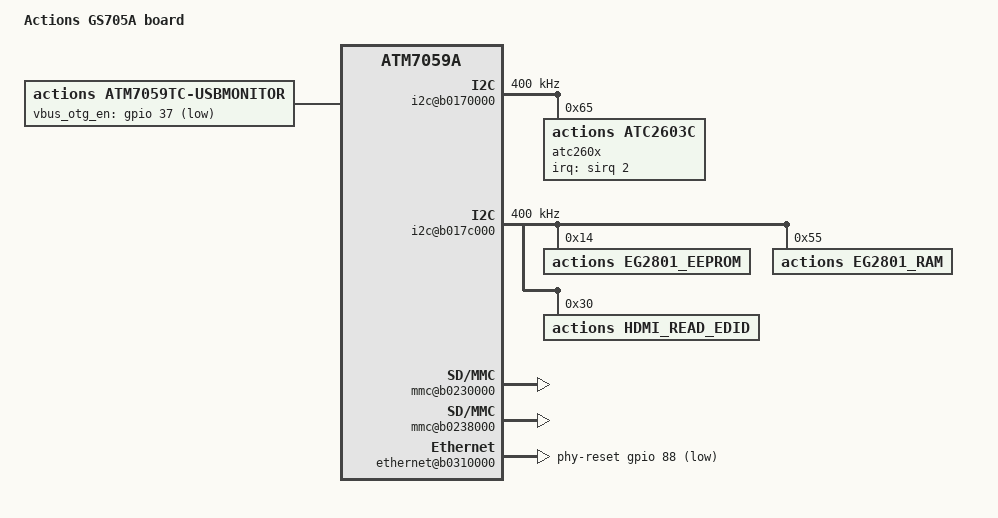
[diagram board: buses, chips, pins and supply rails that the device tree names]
/dts-v1/;

/include/ "actduino.dtsi"
#include <dt-bindings/input/input.h>

/ {
	model = "Actions GS705A board";
	compatible = "actions,gs705a", "actions,atm7059a";

	clock:0b0160000 {
		compatible = "actions,owl-clk";
		core_pll = <0x332>;
		dev_pll = <0x1164>;
		bus_pll = <0x1c710000>;
		display_pll = <0x164>;
		bus1_pll = <0x2e004>;
		clk_spead = <0x0>;
	};
	
	gpio_int {
		initgpio_A=<23 0 0>,<25 0 0>;/*<x1,x2,x3>,x1=PIN,x2=(0=OUT,1=IN),x3=IOVAL*/
		initgpio_B=<1 0 0>,<23 0 0>;
	};
    
	reserved {
		tiny {
			fb_heap_size = <4>;
			kinfo_heap_size = <1>;
			carveout_heap_size = <40>;
			dma_heap_size = <128>;
		};
		normal {
			fb_heap_size = <8>;
			kinfo_heap_size = <1>;
			carveout_heap_size = <244>;
			dma_heap_size = <98>;
		};
	};
	
	pinctrl@b01b0040 {
		pinctrl-names = "default";
		pinctrl-0 = <&state_default>;

		state_default: pinctrl_default {
		};

		i2c0_state_default: i2c0_default {/* i2c0 use default pin	*/
			i2c0_default_mfp {
				actions,groups = "mfp3_18_16";
				actions,function = "i2c0";
			};

			i2c0_default_paddrv {
				actions,groups = "paddrv2_24_23";
				actions,paddrv = <0>;/*level 1*/
			};

			i2c0_default_pull_up {
				actions,pins = "P_I2C0_SCLK","P_I2C0_SDATA";
				actions,pull = <2>; /*pull up*/
			};
		};

		i2c0_state_over_uart0: i2c0_over_uart0 {/* i2c0 use uart0 pin	*/
			i2c0_over_uart0_mfp {
				actions,groups = "mfp2_2_0", "mfp3_21_19";
				actions,function = "i2c0";
			};

			i2c0_over_uart0_paddrv {
				actions,groups = "paddrv2_31_30","paddrv2_29_28";
				actions,paddrv = <0>;/*level 1*/
			};

			i2c0_over_uart0_pull_up {
				actions,pins = "P_UART0_RX","P_UART0_TX";
				actions,pull = <2>; /*pull up*/
			};
		};	

		i2c1_state_default: i2c1_default {/* i2c1 use default pin	*/
			i2c1_default_mfp {
				actions,groups = "i2c1_dummy";
				actions,function = "i2c1";
			};

			i2c1_default_paddrv {
				actions,groups = "paddrv2_22_21";
				actions,paddrv = <0>;/*level 1*/
			};

			i2c1_default_pull_up {
				actions,pins = "P_I2C1_SCLK","P_I2C1_SDATA";
				actions,pull = <0>;	/*stay disabled*/
			};
		};

		i2c2_state_default: i2c2_default {/* i2c2 use default pin*/
			i2c2_default_mfp {
				actions,groups = "i2c2_dummy";
				actions,function = "i2c2";
			};

			i2c2_default_paddrv {
				actions,groups = "paddrv2_22_21";
				actions,paddrv = <0>;/*level 1*/
			};

			i2c2_default_pull_up {
				actions,pins = "P_I2C2_SCLK","P_I2C2_SDATA";
				actions,pull = <2>; /*pull up*/
			};
		};
		
		i2c3_state_over_spi0: i2c3_over_spi0 {/* i2c3 use spi0 pin	*/
			i2c3_over_spi0_mfp {
				actions,groups = "mfp1_4_3";
				actions,function = "i2c3";
			};

			i2c3_over_spi0_paddrv {
				actions,groups = "paddrv1_11_10";
				actions,paddrv = <0>;/*level 1*/
			};

			i2c3_over_spi0_pull_up {
				actions,pins = "P_SPI0_SCLK","P_SPI0_MOSI";
				actions,pull = <2>; /*pull up*/
			};
		};				

		pwm0_state_default: pwm0_default {
			pwm0_mfp {
				actions,groups = "mfp1_31_29_ks_in2";
				actions,function = "pwm0";
			};
		};

		pwm1_state_default: pwm1_default {
			pwm1_mfp {
				actions,groups = "mfp1_28_26_ks_in3";
				actions,function = "pwm1";
			};
		};
		
		pwm2_state_default: pwm2_default {
			pwm2_mfp {
				actions,groups = "mfp1_25_23";
				actions,function = "pwm2";
			};
		};
		
		pwm3_state_default: pwm3_default {
			pwm3_mfp {
				actions,groups = "mfp1_28_26_ks_out1";
				actions,function = "pwm3";
			};
		};
		
		lvds_state_default: lvds_default {
			lvds_mux {
				actions,groups = "mfp1_22_21", "mfp1_6_5", "mfp2_28_27";
				actions,function = "lvds";
			};
		};
		rgb_state_default: rgb_default {
			rgb_mux {
				actions,groups = "mfp0_25_23","mfp1_16_14", "mfp1_22_21", "mfp1_13_12", "mfp1_11_10", "mfp1_6_5", "mfp2_30_29", "mfp2_28_27";
				actions,function = "lcd0";
			};
		};
		
		dsi_state_default: dsi_default {
			dsi_mux {
				actions,groups = "mfp1_20_19", "mfp1_18_17", "mfp1_13_12", "mfp1_11_10", "mfp1_9_7", "mfp2_30_29";
				actions,function = "dsi";
			};
		};
	};

	i2c@b0170000 {
		i2c_num = <0>;
		clock-frequency = <400000>;
		status = "okay";
		pinctrl-names = "default";
		pinctrl-0 = <&i2c0_state_default>;
		#address-cells = <1>;
		#size-cells = <0>;	
		
		/* atc2603c (5307) */
		atc260x: atc2603c@65 {
			compatible = "actions,atc2603c";
			reg = <0x65>;
			interrupt-parent = <&sirq>;
			interrupts =< 2 0x4 >;
			interrupt-controller;
			#interrupt-cells = <1>;

			atc260x-adckeypad{
			    compatible = "actions,atc2603c-adckeypad";
                            adc_channel_name = "AUX0";          /* the ADC channel used for sampling, valid names are REMCON AUX0 AUX1 AUX2 (AUX3) */
                            keymapsize = <4>; /* number of ADC key */
                            left_adc_val =  <0 90 175 270>;     /* for key code translator, each value defines a lower bound of ADC value of a key */
                            right_adc_val = <30 120 220 320>;   /* for key code translator, each value defines a upper bound of ADC value of a key */
                            key_val = <KEY_HOME KEY_MENU KEY_VOLUMEUP KEY_VOLUMEDOWN>; /* for key code translator, each value defines the key_code of a key */
                        };

			atc260x-power{
				compatible = "actions,atc2603c-power";
				support_adaptor_type = <3>;      /*1: DCIN  2: USB  3:DCIN+USB*/
				support_minicharger = < 1 >;	/* 1:support minicharer  0:do not support minicharger */  
			};
		};
	};

	i2c@b017c000 {
		i2c_num = <3>;
		clock-frequency = <400000>;
		status = "okay";
		pinctrl-names = "default";
		pinctrl-0 = <&i2c3_state_over_spi0>;
		eg2801_eeprom@14 {
			compatible ="actions,eg2801_eeprom";
			reg = <0x14>;
		};

		eg2801_ram@55 {
			compatible ="actions,eg2801_ram";
			reg = <0x55>;
		};
		
		hdmi_read_edid@30 {
			compatible = "actions,hdmi_read_edid";
			reg = <0x30>;
		};	
	};

	spi@b0200000 {
		status = "disabled";
	};

	spi@b0204000 {
		status = "disabled";
	};
	
	spi@b0208000 {
		status = "disabled";
	};

	spi@b020c000 {
		status = "disabled";
	};

	gpio@b01b0000 {
		status = "okay";
	};

	mmc@b0230000 {
		status = "okay";
	};

	mmc@b0234000 {
		status = "disabled";
	};

	mmc@b0238000 {
		status = "okay";
	};
	
	monitor {
		compatible = "actions,atm7059tc-usbmonitor";
		vbus_otg_en_gpios = <&gpio 37 1>;  /* GPIOB5,  0: low active; 1: high active */
		status = "okay";
	};

	framebuffer {
		compatible = "actions,framebuffer";
		def_display  = "hdmi";
		xres=<1280>;
		yres=<720>;
		bpp = <4>; 
	};

		
	lcd0: lcd0@b02a0000 {
		status = "disabled";
	};

	dsi: dsi@b0220000 {
		status = "disabled";
	};

	hdmi:hdmi@b02c0000{
		hdcp_onoff = <0>;
		channel_invert = <0>;
		bit_invert = <0>;
		bootable = <1>;
		i2cbus = <3>; 
		bootrotate = <0>;   
		default_resolution = "auto";
	};
	
	cvbs:cvbs@b02b0000{  
		default_mode = "PAL";
		bootable = <1>; 
		bootrotate = <0>; 
		hotplugable = <1>;
		status="okay";
	};

	pwm: pwm@b01b0050 {
		pwm0 {
			id = <0>;
			pinctrl-names = "default";
			pinctrl-0 = <&pwm0_state_default>;
		};
		pwm1 {
			id = <1>;
			pinctrl-names = "default";
			pinctrl-0 = <&pwm1_state_default>;
		};
		pwm2 {
			id = <2>;
			pinctrl-names = "default";
			pinctrl-0 = <&pwm2_state_default>;
		};
		pwm3 {
			id = <3>;
			pinctrl-names = "default";
			pinctrl-0 = <&pwm3_state_default>;
		};
	};

	ethernet@b0310000 {
		compatible = "actions,owl-ethernet";
		phy_addr = <3>;
		status = "okay";
		phy-reset-gpios = <&gpio 88 1>; /* GPIOC24 */
	};

	backlight {
		/*1.pwm num; 2. period in ns; */
		/*3.plarity, 0: high active, 1: low active*/
		backlight_en_gpios = <&gpio 128 0>; /*GPIOE0*/ 
		pwms = <&pwm 0 50000 1>;
		total_steps = <1024>;
		min_brightness = <250>;
		max_brightness = <1000>;
		dft_brightness = <600>;
		delay_bf_pwm  = <200>;
		delay_af_pwm  = <10>;	
	};

	pmu {
		ldo_cfgs_1 = <0x7>;
	};
};
